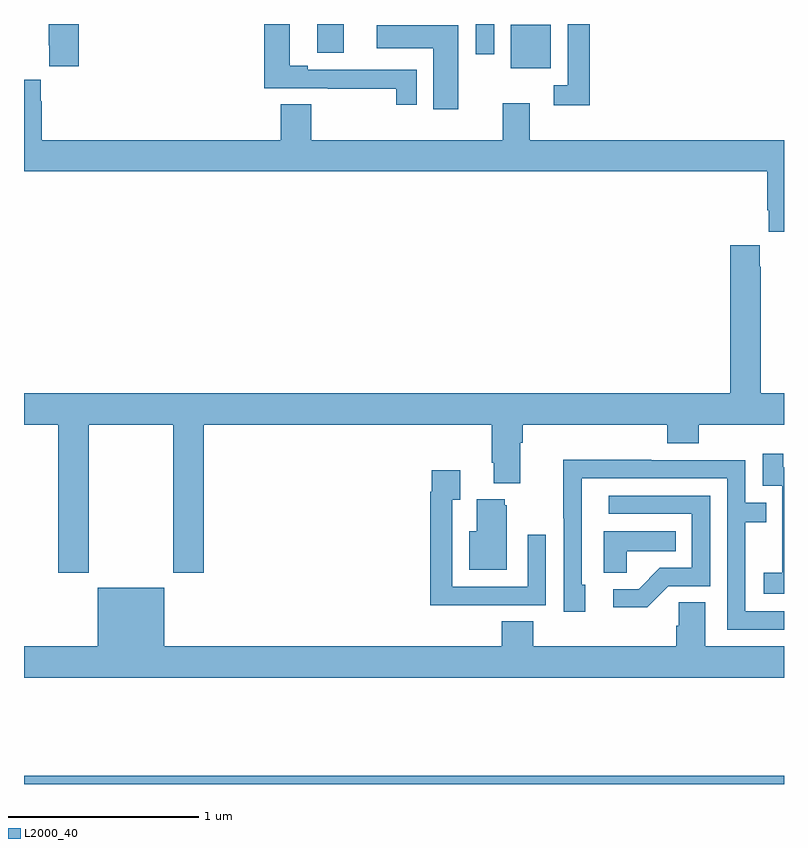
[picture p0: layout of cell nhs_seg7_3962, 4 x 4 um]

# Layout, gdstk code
import gdstk
lib = gdstk.Library(unit=1e-6, precision=1e-09)
def R(c, l, rs):  # rectangles x0, y0, x1, y1
    for r in rs: c.add(gdstk.rectangle(r[:2], r[2:], *l))
def P(c, l, *ps):  # polygons
    for p in ps: c.add(gdstk.Polygon(p, *l))
L2000_40 = (2000, 40)

nhs_seg7_3962 = lib.new_cell('nhs_seg7_3962')
R(nhs_seg7_3962, L2000_40, [(361,1056,365,1056.044), (363.563,1059.767,363.772,1059.997), (363.378,1059.84,363.474,1060), (362.543,1059.849,362.683,1060)])
P(nhs_seg7_3962, L2000_40, [(361.289,1060),(361.129,1060),(361.129,1059.889),(361.133,1059.889),(361.133,1059.777),(361.289,1059.777)],
  [(363.066,1059.759),(362.494,1059.759),(362.494,1059.779),(362.398,1059.779),(362.398,1060),(362.264,1060),(362.264,1059.663),(362.599,1059.663),(362.599,1059.658),(362.958,1059.658),(362.958,1059.576),(363.066,1059.576)],
  [(363.977,1060),(363.861,1060),(363.861,1059.678),(363.789,1059.678),(363.789,1059.573),(363.977,1059.573)],
  [(363.286,1059.994),(362.856,1059.994),(362.856,1059.872),(363.155,1059.872),(363.155,1059.552),(363.286,1059.552)],
  [(365,1059.388),(363.661,1059.388),(363.661,1059.583),(363.521,1059.583),(363.521,1059.388),(362.511,1059.388),(362.511,1059.578),(362.351,1059.578),(362.351,1059.388),(361.094,1059.388),(361.094,1059.593),(361.087,1059.593),(361.087,1059.706),(361,1059.706),(361,1059.224),(364.913,1059.224),(364.913,1059.019),(364.919,1059.019),(364.919,1058.907),(365,1058.907)],
  [(361.341,1057.892),(361.786,1057.892),(361.786,1057.113),(361.946,1057.113),(361.946,1057.892),(363.461,1057.892),(363.461,1057.69),(363.473,1057.69),(363.473,1057.583),(363.613,1057.583),(363.613,1057.796),(363.626,1057.796),(363.626,1057.892),(364.385,1057.892),(364.385,1057.793),(364.55,1057.793),(364.55,1057.892),(365,1057.892),(365,1058.056),(364.878,1058.056),(364.878,1058.723),(364.873,1058.723),(364.873,1058.836),(364.718,1058.836),(364.718,1058.056),(361,1058.056),(361,1057.892),(361.181,1057.892),(361.181,1057.113),(361.341,1057.113)],
  [(365,1057.668),(364.996,1057.668),(364.996,1057.738),(364.887,1057.738),(364.887,1057.569),(364.992,1057.569),(364.992,1057.34),(364.991,1057.34),(364.991,1057.111),(364.893,1057.111),(364.893,1057.001),(365,1057.001)],
  [(365,1056.909),(364.797,1056.909),(364.797,1057.378),(364.907,1057.378),(364.907,1057.479),(364.797,1057.479),(364.797,1057.704),(364.301,1057.704),(364.301,1057.706),(363.838,1057.706),(363.838,1057.399),(363.84,1057.399),(363.84,1056.906),(363.955,1056.906),(363.955,1057.05),(363.936,1057.05),(363.936,1057.608),(364.701,1057.608),(364.701,1056.813),(365,1056.813)],
  [(363.431,1056.942),(363.747,1056.942),(363.747,1057.312),(363.651,1057.312),(363.651,1057.038),(363.255,1057.038),(363.255,1057.495),(363.295,1057.495),(363.295,1057.651),(363.147,1057.651),(363.147,1057.538),(363.139,1057.538),(363.139,1056.941),(363.431,1056.941)],
  [(364.392,1057.041),(364.611,1057.041),(364.611,1057.518),(364.077,1057.518),(364.077,1057.422),(364.515,1057.422),(364.515,1057.137),(364.346,1057.137),(364.235,1057.026),(364.101,1057.026),(364.101,1056.929),(364.279,1056.929)],
  [(363.541,1057.467),(363.53,1057.467),(363.53,1057.498),(363.383,1057.498),(363.383,1057.33),(363.344,1057.33),(363.344,1057.127),(363.541,1057.127)],
  [(364.173,1057.226),(364.43,1057.226),(364.43,1057.33),(364.052,1057.33),(364.052,1057.111),(364.173,1057.111)],
  [(365,1056.724),(364.585,1056.724),(364.585,1056.956),(364.446,1056.956),(364.446,1056.833),(364.433,1056.833),(364.433,1056.724),(363.68,1056.724),(363.68,1056.857),(363.515,1056.857),(363.515,1056.724),(361.738,1056.724),(361.738,1057.033),(361.388,1057.033),(361.388,1056.724),(361,1056.724),(361,1056.56),(365,1056.56)])

lib.write_gds('nhs_seg7_3962.gds')
